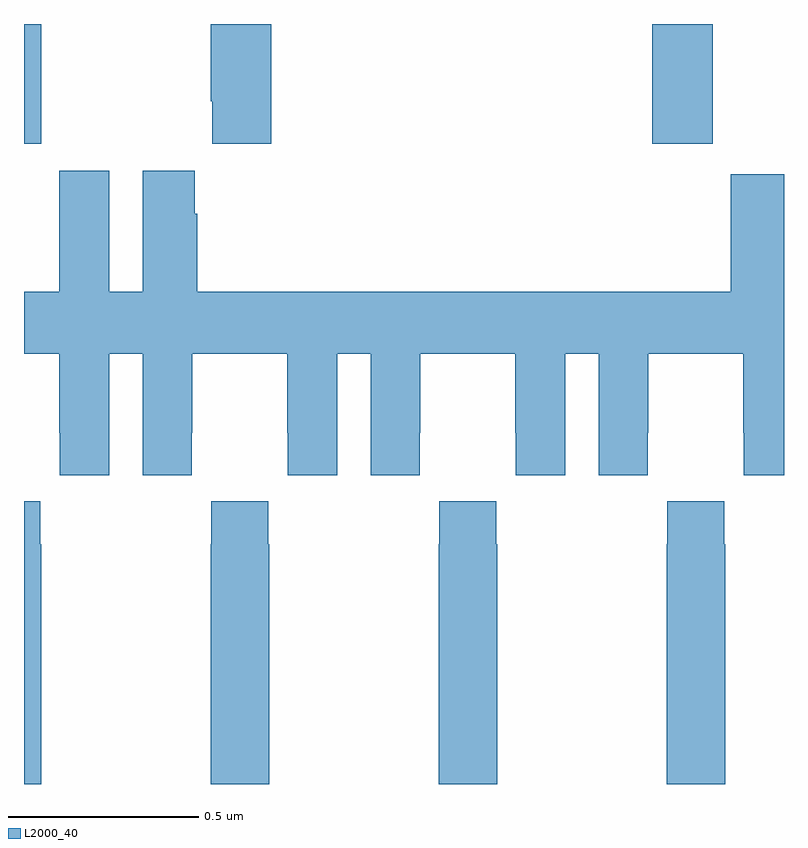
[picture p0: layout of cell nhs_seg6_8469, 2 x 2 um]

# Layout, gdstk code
import gdstk
lib = gdstk.Library(unit=1e-6, precision=1e-09)
def R(c, l, rs):  # rectangles x0, y0, x1, y1
    for r in rs: c.add(gdstk.rectangle(r[:2], r[2:], *l))
def P(c, l, *ps):  # polygons
    for p in ps: c.add(gdstk.Polygon(p, *l))
L2000_40 = (2000, 40)

nhs_seg6_8469 = lib.new_cell('nhs_seg6_8469')
R(nhs_seg6_8469, L2000_40, [(221,985.185,221.046,985.5), (222.653,985.185,222.813,985.5)])
P(nhs_seg6_8469, L2000_40, [(221.651,985.5),(221.491,985.5),(221.491,985.297),(221.495,985.297),(221.495,985.185),(221.651,985.185)],
  [(221.456,985.001),(221.449,985.001),(221.449,985.114),(221.312,985.114),(221.312,984.796),(221.224,984.796),(221.224,985.114),(221.093,985.114),(221.093,984.796),(221,984.796),(221,984.632),(221.093,984.632),(221.093,984.424),(221.094,984.424),(221.094,984.312),(221.224,984.312),(221.224,984.632),(221.312,984.632),(221.312,984.312),(221.442,984.312),(221.442,984.424),(221.443,984.424),(221.443,984.632),(221.693,984.632),(221.693,984.424),(221.694,984.424),(221.694,984.312),(221.824,984.312),(221.824,984.632),(221.912,984.632),(221.912,984.312),(222.042,984.312),(222.042,984.424),(222.043,984.424),(222.043,984.632),(222.293,984.632),(222.293,984.424),(222.294,984.424),(222.294,984.312),(222.424,984.312),(222.424,984.632),(222.512,984.632),(222.512,984.312),(222.642,984.312),(222.642,984.424),(222.643,984.424),(222.643,984.632),(222.893,984.632),(222.893,984.424),(222.894,984.424),(222.894,984.312),(223,984.312),(223,985.105),(222.86,985.105),(222.86,984.796),(221.456,984.796)],
  [(222.846,984.131),(222.843,984.131),(222.843,984.244),(222.693,984.244),(222.693,984.131),(222.691,984.131),(222.691,983.5),(222.846,983.5)],
  [(222.246,984.131),(222.243,984.131),(222.243,984.244),(222.093,984.244),(222.093,984.131),(222.091,984.131),(222.091,983.5),(222.246,983.5)],
  [(221.646,984.131),(221.643,984.131),(221.643,984.244),(221.493,984.244),(221.493,984.131),(221.491,984.131),(221.491,983.5),(221.646,983.5)],
  [(221.046,984.131),(221.043,984.131),(221.043,984.244),(221,984.244),(221,983.5),(221.046,983.5)])

lib.write_gds('nhs_seg6_8469.gds')
